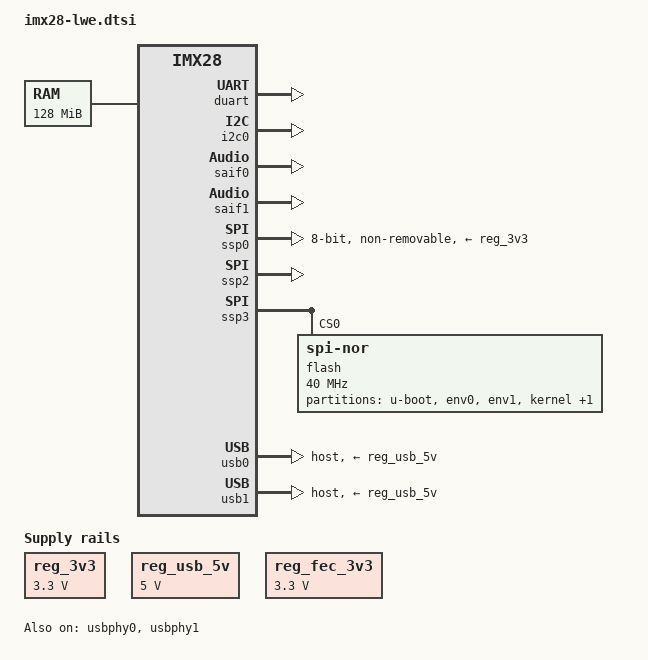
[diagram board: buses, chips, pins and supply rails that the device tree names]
// SPDX-License-Identifier: GPL-2.0-or-later OR MIT
/*
 * Copyright 2021
 * Lukasz Majewski, DENX Software Engineering, lukma@denx.de
 */

/dts-v1/;
#include "imx28.dtsi"

/ {
	aliases {
		spi2 = &ssp3;
	};

	chosen {
		bootargs = "root=/dev/mmcblk0p2 rootfstype=ext4 ro rootwait console=ttyAMA0,115200 panic=1";
	};

	memory@40000000 {
		reg = <0x40000000 0x08000000>;
	};

	reg_3v3: regulator-reg-3v3 {
		compatible = "regulator-fixed";
		regulator-name = "3V3";
		regulator-min-microvolt = <3300000>;
		regulator-max-microvolt = <3300000>;
	};

	reg_usb_5v: regulator-reg-usb-5v {
		compatible = "regulator-fixed";
		regulator-name = "usb_vbus";
		regulator-min-microvolt = <5000000>;
		regulator-max-microvolt = <5000000>;
	};

	reg_fec_3v3: regulator-reg-fec-3v3 {
		compatible = "regulator-fixed";
		regulator-name = "fec-phy";
		regulator-min-microvolt = <3300000>;
		regulator-max-microvolt = <3300000>;
	};
};

&duart {
	pinctrl-names = "default";
	pinctrl-0 = <&duart_pins_a>;
	status = "okay";
};

&i2c0 {
	pinctrl-names = "default";
	pinctrl-0 = <&i2c0_pins_a>;
	status = "okay";
};

&saif0 {
	pinctrl-names = "default";
	pinctrl-0 = <&saif0_pins_a>;
	#sound-dai-cells = <0>;
	assigned-clocks = <&clks 53>;
	assigned-clock-rates = <12000000>;
	status = "okay";
};

&saif1 {
	pinctrl-names = "default";
	pinctrl-0 = <&saif1_pins_a>;
	fsl,saif-master = <&saif0>;
	#sound-dai-cells = <0>;
	status = "okay";
};

&spi3_pins_a {
	fsl,pinmux-ids = <
		MX28_PAD_AUART2_RX__SSP3_D4
		MX28_PAD_AUART2_TX__SSP3_D5
		MX28_PAD_SSP3_SCK__SSP3_SCK
		MX28_PAD_SSP3_MOSI__SSP3_CMD
		MX28_PAD_SSP3_MISO__SSP3_D0
		MX28_PAD_SSP3_SS0__SSP3_D3
		MX28_PAD_AUART2_TX__GPIO_3_9
	>;
};

&ssp0 {
	compatible = "fsl,imx28-mmc";
	pinctrl-names = "default";
	pinctrl-0 = <&mmc0_8bit_pins_a>;
	bus-width = <8>;
	vmmc-supply = <&reg_3v3>;
	non-removable;
	status = "okay";
};

&ssp2 {
	compatible = "fsl,imx28-spi";
	pinctrl-names = "default";
	pinctrl-0 = <&spi2_pins_a>;
	status = "okay";
};

&ssp3 {
	compatible = "fsl,imx28-spi";
	pinctrl-names = "default";
	pinctrl-0 = <&spi3_pins_a>;
	status = "okay";

	flash@0 {
		compatible = "jedec,spi-nor";
		spi-max-frequency = <40000000>;
		reg = <0>;

		partitions {
			compatible = "fixed-partitions";
			#address-cells = <1>;
			#size-cells = <1>;

			partition@0 {
				label = "u-boot";
				reg = <0 0x80000>;
				read-only;
			};

			partition@80000 {
				label = "env0";
				reg = <0x80000 0x10000>;
			};

			partition@90000 {
				label = "env1";
				reg = <0x90000 0x10000>;
			};

			partition@100000 {
				label = "kernel";
				reg = <0x100000 0x400000>;
			};

			partition@500000 {
				label = "swupdate";
				reg = <0x500000 0x800000>;
			};
		};
	};
};

&usb0 {
	vbus-supply = <&reg_usb_5v>;
	pinctrl-names = "default";
	pinctrl-0 = <&usb0_pins_b>, <&usb0_id_pins_a>;
	dr_mode = "host";
	status = "okay";
};

&usbphy0 {
	status = "okay";
};

&usb1 {
	vbus-supply = <&reg_usb_5v>;
	pinctrl-names = "default";
	pinctrl-0 = <&usb1_pins_b>;
	dr_mode = "host";
	status = "okay";
};

&usbphy1 {
	status = "okay";
};
